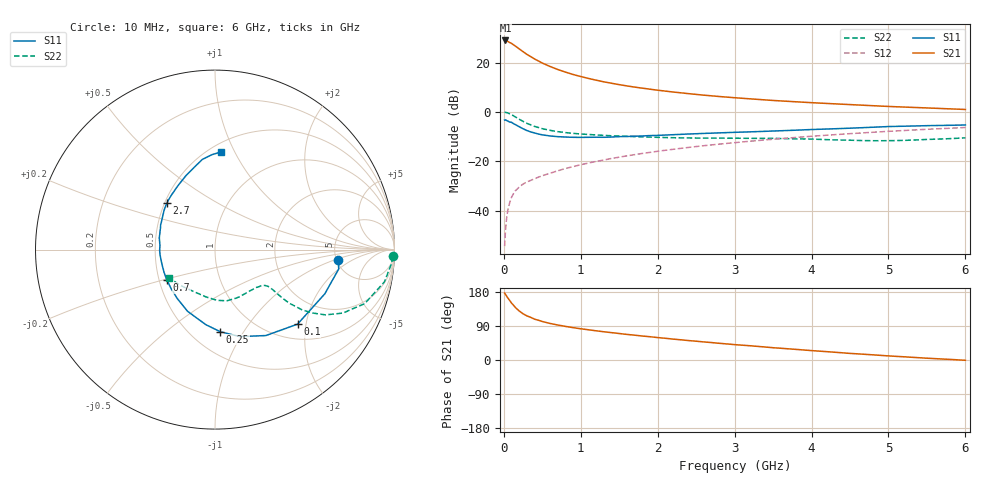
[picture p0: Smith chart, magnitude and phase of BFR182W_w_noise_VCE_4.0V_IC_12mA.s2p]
! Infineon Technologies  Discrete & RF Semiconductors
! BFR182W
! VCE =  4.0 V,  IC =  12 mA
! Common Emitter S-Parameters:  Jan 2017
# GHz  S  MA  R  50
!  f  S11  S21  S12  S22
! GHz  MAG  ANG  MAG  ANG  MAG  ANG  MAG  ANG
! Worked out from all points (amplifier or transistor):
!   77 points, 10 MHz to 6 GHz, reference 50 ohm
!   highest |S21| = 29.0 dB at 20 MHz (marker M1)
!   |S21| within 3 dB of that: start of sweep to 181.4 MHz
!   unconditionally stable (mu >= 1): 1.03 GHz to 2.552 GHz
!   at 130 MHz: K = 0.31, MSG = 30.1 dB, |S12| = -32.9 dB
!   at 2.2 GHz: K = 1.02, MAG = 10.7 dB, |S12| = -15.1 dB
!   at 6 GHz: K = 0.87, MSG = 3.7 dB, |S12| = -6.3 dB
!   lowest NFmin = 1.14 dB at 450 MHz
!   S11 on the Smith chart (normalised r, x): 10 MHz: 5.19, -1.09; 100 MHz: 1.33, -1.79; 250 MHz: 0.69, -0.79; 700 MHz: 0.55, -0.21; 2.7 GHz: 0.51, +0.31; 6 GHz: 0.57, +0.89
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0.01  0.6891 -4.6  28.15 176.5  0.0019 90.8  0.9934 -2.2
0.02  0.6976 -8.9  28.34 173.5  0.0036 94.4  0.9866 -4.5
0.05  0.6597 -21.9  27.2 164.1  0.0099 81.9  0.9608 -10.8
0.1  0.6196 -42.1  24.73 150.1  0.0187 72.9  0.8862 -19.9
0.15  0.5565 -59.4  21.82 138.5  0.0253 67.2  0.7954 -26.4
0.2  0.5038 -74.1  19.09 129.3  0.0301 64.5  0.7145 -30.6
0.25  0.4581 -86.4  16.77 121.9  0.0346 61.0  0.6462 -33.1
0.3  0.4215 -96.9  14.78 116.4  0.0382 60.4  0.5891 -34.7
0.4  0.3761 -114.0  11.9 107.7  0.0443 61.4  0.5108 -35.8
0.5  0.3446 -127.4  9.855 101.6  0.0511 61.7  0.4595 -35.7
0.6  0.3272 -138.4  8.412 96.5  0.0573 62.9  0.4252 -35.3
0.7  0.317 -147.9  7.304 92.4  0.0641 64.1  0.4008 -34.9
0.9  0.3071 -162.3  5.78 85.4  0.078 64.9  0.3696 -34.7
1.1  0.3073 -174.1  4.806 79.8  0.0924 66.3  0.351 -35.2
1.3  0.3074 176.0  4.104 74.5  0.1063 66.4  0.3366 -36.4
1.5  0.3171 168.2  3.597 69.9  0.1215 66.4  0.3253 -38.4
2.1  0.3412 149.7  2.66 57.3  0.1676 64.5  0.3038 -47.8
2.7  0.3729 135.8  2.133 46.0  0.2153 61.2  0.2958 -60.5
3.1  0.3918 127.3  1.902 39.1  0.2474 58.5  0.2936 -68.7
4.1  0.447 110.2  1.521 23.4  0.3308 50.5  0.2789 -90.2
5.1  0.5116 96.6  1.28 9.6  0.4139 41.1  0.2638 -121.4
6  0.5462 86.2  1.128 -0.7  0.485 32.1  0.2996 -148.3
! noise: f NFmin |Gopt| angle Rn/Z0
0.45  1.14  0.05  71  0.15
0.9  1.22  0.06  102  0.15
1.9  1.71  0.21  -156  0.14
2.4  1.97  0.2  -143  0.21
